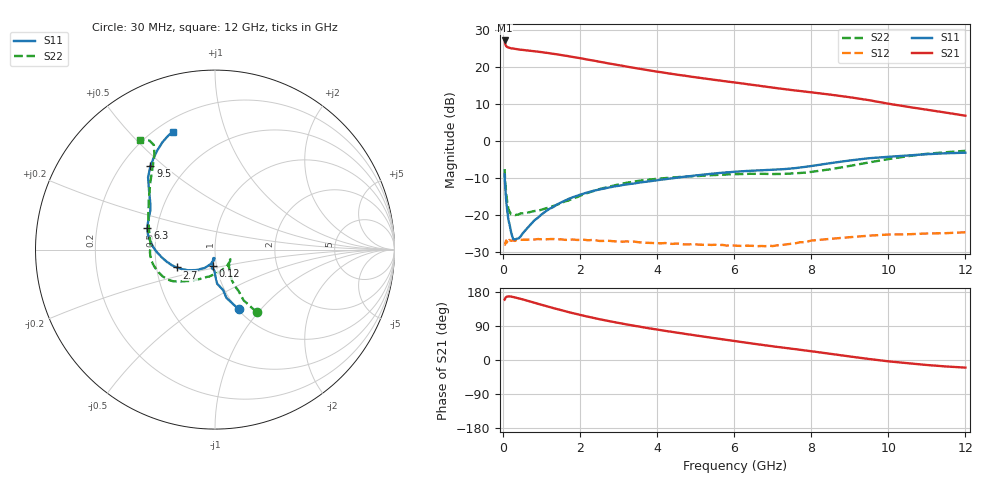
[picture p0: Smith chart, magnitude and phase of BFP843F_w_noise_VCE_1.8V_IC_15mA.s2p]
! Infineon Technologies  Discrete & RF Semiconductors
! BFP843F
! VCE =  1.8 V,  IC =  15 mA
! Common Emitter S-Parameters:  Aug 2013
# GHz  S  MA  R  50
!  f  S11  S21  S12  S22
! GHz  MAG  ANG  MAG  ANG  MAG  ANG  MAG  ANG
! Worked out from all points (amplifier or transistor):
!   103 points, 30 MHz to 12 GHz, reference 50 ohm
!   highest |S21| = 27.2 dB at 30 MHz (marker M1)
!   |S21| within 3 dB of that: start of sweep to 877 MHz
!   unconditionally stable (mu >= 1): 127.4 MHz to 134.9 MHz; 165.5 MHz to end of sweep
!   at 400 MHz: K = 1.01, MAG = 25.0 dB, |S12| = -26.6 dB
!   at 3.7 GHz: K = 1.20, MAG = 20.6 dB, |S12| = -27.4 dB
!   at 12 GHz: K = 1.25, MAG = 12.7 dB, |S12| = -24.6 dB
!   lowest NFmin = 0.84 dB at 450 MHz
!   S11 on the Smith chart (normalised r, x): 30 MHz: 1.01, -0.77; 120 MHz: 0.96, -0.18; 2.7 GHz: 0.64, -0.13; 6.3 GHz: 0.44, +0.13; 9.5 GHz: 0.32, +0.45; 12 GHz: 0.26, +0.67
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0.03  0.357 -68.4  22.81 159.3  0.0404 28.1  0.4194 -56.3
0.04  0.276 -76.7  21.13 160.8  0.0401 20.6  0.3237 -60.6
0.05  0.2303 -78.6  20.09 163.9  0.0425 23.2  0.2665 -60.3
0.06  0.1906 -86.4  19.59 165.1  0.0436 14.2  0.2338 -61.4
0.08  0.1399 -89.9  18.92 166.7  0.0434 14.9  0.1825 -60.5
0.12  0.0936 -98.4  18.41 167.9  0.0453 9.7  0.1298 -52.2
0.2  0.0587 -100.9  17.87 167.3  0.0452 5.3  0.1027 -40.0
0.9  0.0932 -111.4  16.1 148.2  0.0478 1.3  0.1151 -63.1
1.2  0.1226 -121.4  15.34 139.7  0.0477 -0.0  0.1281 -82.0
1.7  0.1669 -136.7  13.97 126.2  0.0465 -0.9  0.1589 -106.6
2.1  0.1975 -145.1  12.84 116.4  0.0468 -2.2  0.1922 -120.2
2.7  0.2344 -154.9  11.25 103.5  0.0454 -2.5  0.2393 -132.9
3.4  0.2688 -164.1  9.731 90.3  0.0442 -2.1  0.286 -141.8
4.1  0.3026 -172.4  8.497 78.6  0.0418 -1.1  0.3138 -148.6
5  0.345 177.5  7.264 64.8  0.0405 1.9  0.3381 -157.9
6.1  0.3891 164.9  6.098 48.7  0.0387 6.5  0.3588 -170.8
6.3  0.3953 162.3  5.905 45.8  0.0389 7.4  0.3606 -173.3
7.1  0.4144 151.7  5.185 34.7  0.0393 14.8  0.3605 176.7
8.5  0.5051 136.9  4.233 16.2  0.0481 20.0  0.418 152.7
9.5  0.5883 127.7  3.565 2.6  0.0531 18.9  0.5167 134.3
10.5  0.6402 120.1  2.907 -8.4  0.0554 17.5  0.6264 122.6
12  0.6982 109.7  2.201 -20.1  0.059 19.5  0.7408 124.4
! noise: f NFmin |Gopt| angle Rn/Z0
0.45  0.84  0.02  165  0.04
0.9  0.84  0.02  143  0.05
1.5  0.88  0.03  139  0.05
1.9  0.92  0.05  146  0.05
2.4  0.96  0.06  153  0.08
3.5  1.02  0.09  167  0.13
5.5  1.12  0.17  -157  0.21
10  1.65  0.37  -108  0.31
